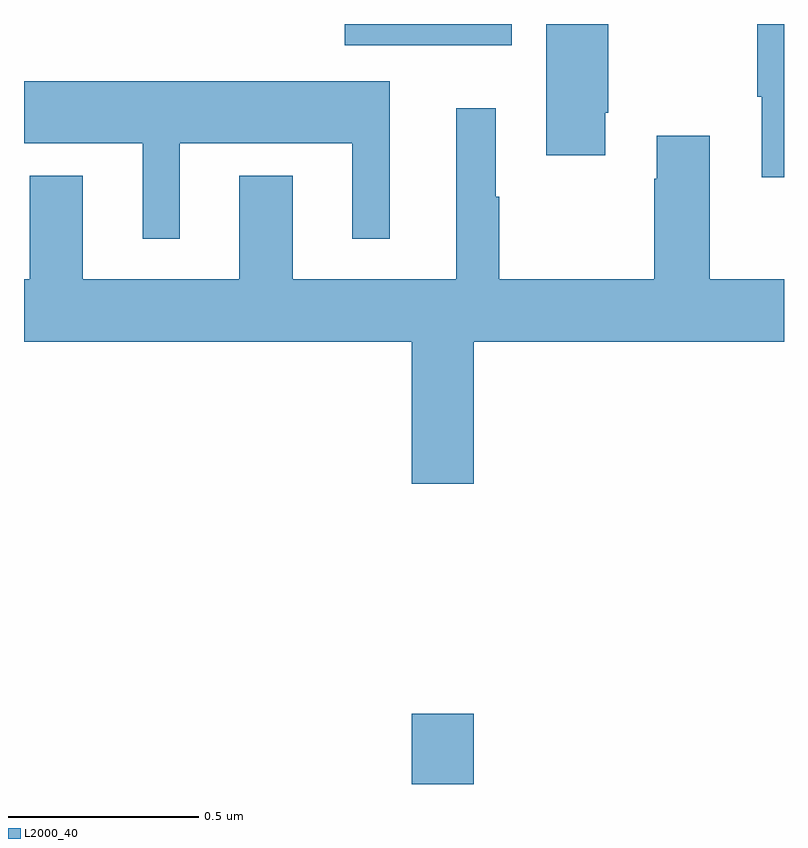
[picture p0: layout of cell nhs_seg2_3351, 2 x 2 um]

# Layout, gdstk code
import gdstk
lib = gdstk.Library(unit=1e-6, precision=1e-09)
def R(c, l, rs):  # rectangles x0, y0, x1, y1
    for r in rs: c.add(gdstk.rectangle(r[:2], r[2:], *l))
def P(c, l, *ps):  # polygons
    for p in ps: c.add(gdstk.Polygon(p, *l))
L2000_40 = (2000, 40)

nhs_seg2_3351 = lib.new_cell('nhs_seg2_3351')
R(nhs_seg2_3351, L2000_40, [(153.02,651.8,153.184,651.985), (152.844,653.744,153.283,653.8)])
P(nhs_seg2_3351, L2000_40, [(154,653.8),(153.93,653.8),(153.93,653.609),(153.941,653.609),(153.941,653.397),(154,653.397)],
  [(153.529,653.566),(153.537,653.566),(153.537,653.8),(153.374,653.8),(153.374,653.454),(153.529,653.454)],
  [(152.41,653.486),(152.864,653.486),(152.864,653.235),(152.962,653.235),(152.962,653.65),(152,653.65),(152,653.486),(152.312,653.486),(152.312,653.235),(152.41,653.235)],
  [(153.184,652.964),(154,652.964),(154,653.128),(153.805,653.128),(153.805,653.506),(153.665,653.506),(153.665,653.393),(153.658,653.393),(153.658,653.128),(153.251,653.128),(153.251,653.345),(153.241,653.345),(153.241,653.578),(153.137,653.578),(153.137,653.128),(152.707,653.128),(152.707,653.401),(152.567,653.401),(152.567,653.128),(152.155,653.128),(152.155,653.401),(152.015,653.401),(152.015,653.128),(152,653.128),(152,652.964),(153.02,652.964),(153.02,652.59),(153.184,652.59)])

lib.write_gds('nhs_seg2_3351.gds')
